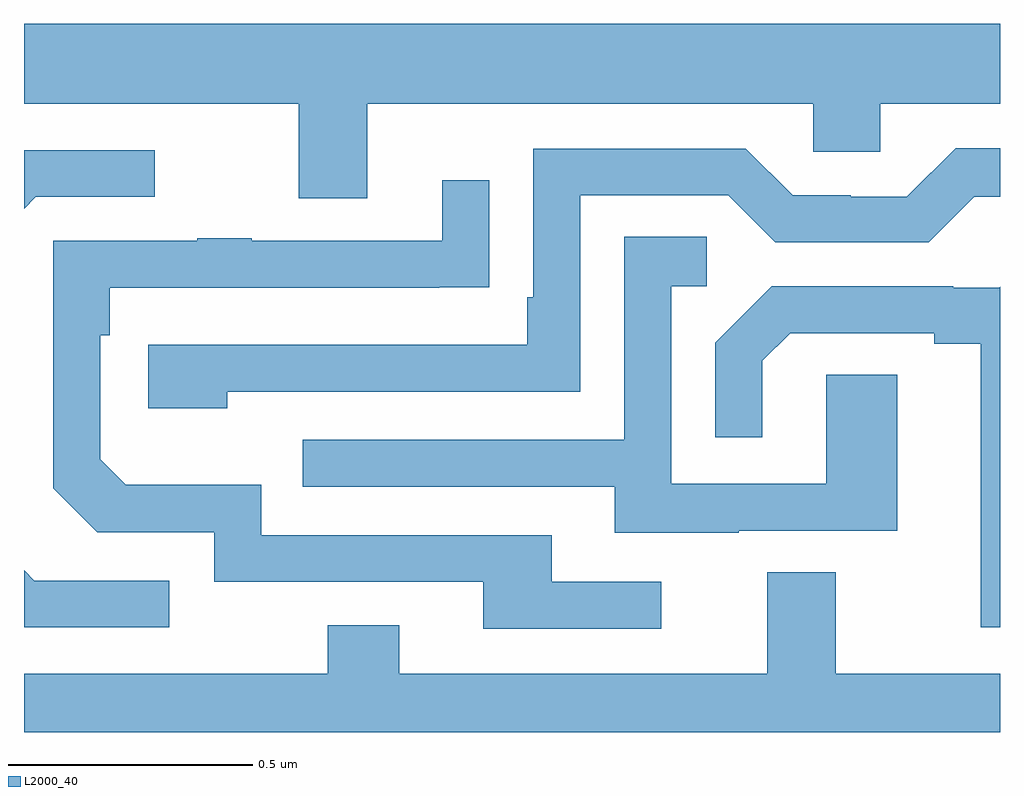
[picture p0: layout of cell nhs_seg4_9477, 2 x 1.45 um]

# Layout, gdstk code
import gdstk
lib = gdstk.Library(unit=1e-6, precision=1e-09)
def P(c, l, *ps):  # polygons
    for p in ps: c.add(gdstk.Polygon(p, *l))
L2000_40 = (2000, 40)

nhs_seg4_9477 = lib.new_cell('nhs_seg4_9477')
P(nhs_seg4_9477, L2000_40, [(228.703,762.188),(229.617,762.188),(229.617,762.09),(229.755,762.09),(229.755,762.188),(230,762.188),(230,762.352),(228,762.352),(228,762.188),(228.563,762.188),(228.563,761.994),(228.703,761.994)],
  [(228.416,761.598),(229.14,761.598),(229.14,762),(229.443,762),(229.539,761.904),(229.854,761.904),(229.947,761.997),(230,761.997),(230,762.097),(229.909,762.097),(229.809,761.997),(229.694,761.997),(229.694,762),(229.575,762),(229.479,762.096),(229.044,762.096),(229.044,761.791),(229.031,761.791),(229.031,761.694),(228.255,761.694),(228.255,761.564),(228.416,761.564)],
  [(228.024,761.997),(228.268,761.997),(228.268,762.093),(228,762.093),(228,761.973)],
  [(229.306,761.208),(229.081,761.208),(229.081,761.304),(228.486,761.304),(228.486,761.407),(228.209,761.407),(228.156,761.46),(228.156,761.714),(228.176,761.714),(228.176,761.811),(228.851,761.811),(228.851,761.812),(228.953,761.812),(228.953,762.031),(228.857,762.031),(228.857,761.907),(228.467,761.907),(228.467,761.912),(228.355,761.912),(228.355,761.907),(228.06,761.907),(228.06,761.4),(228.15,761.31),(228.39,761.31),(228.39,761.208),(228.941,761.208),(228.941,761.112),(229.306,761.112)],
  [(229.465,761.313),(229.789,761.313),(229.789,761.633),(229.644,761.633),(229.644,761.409),(229.326,761.409),(229.326,761.814),(229.399,761.814),(229.399,761.915),(229.23,761.915),(229.23,761.499),(228.571,761.499),(228.571,761.403),(229.211,761.403),(229.211,761.309),(229.465,761.309)],
  [(230,761.813),(229.998,761.811),(229.904,761.811),(229.904,761.814),(229.532,761.814),(229.416,761.698),(229.416,761.505),(229.513,761.505),(229.513,761.661),(229.57,761.718),(229.865,761.718),(229.865,761.696),(229.961,761.696),(229.961,761.115),(230,761.115)],
  [(228.298,761.211),(228.021,761.211),(228,761.232),(228,761.115),(228.298,761.115)],
  [(230,761.02),(229.663,761.02),(229.663,761.228),(229.523,761.228),(229.523,761.02),(228.769,761.02),(228.769,761.119),(228.622,761.119),(228.622,761.02),(228,761.02),(228,760.9),(230,760.9)])

lib.write_gds('nhs_seg4_9477.gds')
